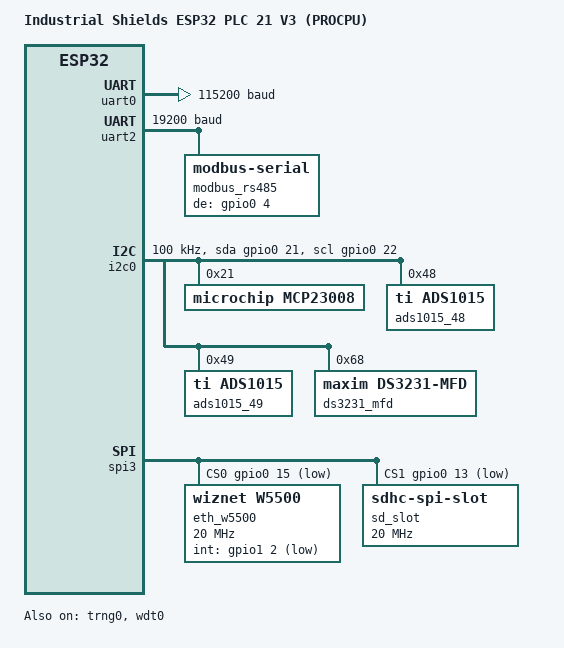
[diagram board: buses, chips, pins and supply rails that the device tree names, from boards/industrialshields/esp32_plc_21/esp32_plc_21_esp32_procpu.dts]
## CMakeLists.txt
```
# SPDX-License-Identifier: Apache-2.0

cmake_minimum_required(VERSION 3.20.0)

# Tell Zephyr to look here (in addition to ZEPHYR_BASE) for board definitions
# and devicetree bindings.  Required because we keep the custom board for the
# Industrial Shields ESP32 PLC 21 in this repo, not in the Zephyr tree.
list(APPEND BOARD_ROOT ${CMAKE_CURRENT_SOURCE_DIR})
list(APPEND DTS_ROOT   ${CMAKE_CURRENT_SOURCE_DIR})

find_package(Zephyr REQUIRED HINTS $ENV{ZEPHYR_BASE})
project(DripMonitor)

# Create a custom command to generate version information at build time
add_custom_command(
    OUTPUT ${CMAKE_CURRENT_BINARY_DIR}/version_info.h
    COMMAND ${CMAKE_COMMAND}
        -DSOURCE_DIR=${CMAKE_CURRENT_SOURCE_DIR}
        -DBINARY_DIR=${CMAKE_CURRENT_BINARY_DIR}
        -P ${CMAKE_CURRENT_SOURCE_DIR}/generate_version.cmake
    WORKING_DIRECTORY ${CMAKE_CURRENT_SOURCE_DIR}
    COMMENT "Generating version information"
    VERBATIM
)

# Create a custom target that depends on the version header
add_custom_target(generate_version_header ALL
    DEPENDS ${CMAKE_CURRENT_BINARY_DIR}/version_info.h
)

# Make sure the generated header is available to the compiler
target_include_directories(app PRIVATE ${CMAKE_CURRENT_BINARY_DIR})

# Make the app depend on the version generation
add_dependencies(app generate_version_header)

target_sources(app PRIVATE
    src/main.cpp
    src/dripper.cpp
    src/display.cpp
    src/cloud.cpp
    src/storage.cpp
    src/modbus_rtu.cpp
    include/network.cpp
    include/LK204.cpp
    include/PID.cpp
    include/mqtt_broker.cpp
)
```

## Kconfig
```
config ENABLE_DRIPPER
    bool "Enable Dripper Control"
    default y
    help
      Enable the dripper control thread and functionality

config ENABLE_DISPLAY
    bool "Enable Project Display"
    default y
    help
      Enable the LCD display thread and user interface

config ENABLE_CLOUD
    bool "Enable Project Cloud Communications"
    default y
    help
      Enable MQTT cloud connectivity and data synchronization

config PID_TUNING_LOG
    bool "Enable PID Tuning Data Logging"
    default n
    help
      Enable detailed PID tuning data logging for analysis.
      Logs setpoint, process variable, control output, and PID parameters.

# Per-module logging configuration
menu "Module Log Levels"

module = APP_MAIN
module-str = app_main
source "subsys/logging/Kconfig.template.log_config"

module = APP_DRIPPER
module-str = app_dripper
source "subsys/logging/Kconfig.template.log_config"

module = APP_DISPLAY
module-str = app_display
source "subsys/logging/Kconfig.template.log_config"

module = APP_CLOUD
module-str = app_cloud
source "subsys/logging/Kconfig.template.log_config"

endmenu

source "Kconfig.zephyr"
```

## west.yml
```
manifest:
  remotes:
    - name: zephyrproject-rtos
      url-base: https://github.com/zephyrproject-rtos

  projects:
    - name: zephyr
      remote: zephyrproject-rtos
      path: zephyr
      revision: v4.4.0
      import: true

  self:
    path: DripMonitor
```

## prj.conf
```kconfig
#Application
CONFIG_ENABLE_DRIPPER=y
CONFIG_ENABLE_DISPLAY=n
CONFIG_ENABLE_CLOUD=y


#Logging
CONFIG_LOG=y
CONFIG_LOG_DEFAULT_LEVEL=3
CONFIG_LOG_BUFFER_SIZE=2048
CONFIG_LOG_MODE_DEFERRED=y


#Per-Module Logging Configuration
#0=OFF, 1=ERR, 2=WRN, 3=INF, 4=DBG
CONFIG_APP_MAIN_LOG_LEVEL_INF=y
CONFIG_APP_DRIPPER_LOG_LEVEL_INF=y
CONFIG_APP_DISPLAY_LOG_LEVEL_INF=y
CONFIG_APP_CLOUD_LOG_LEVEL_INF=y
CONFIG_PID_TUNING_LOG=n


#Zephyr Module Logging
#CONFIG_NET_LOG=y
#CONFIG_SNTP_LOG_LEVEL_DBG=y
#CONFIG_ETHERNET_LOG_LEVEL_DBG=y
#CONFIG_ETH_W5500_LOG_LEVEL_DBG=y
#CONFIG_NET_DHCPV4_LOG_LEVEL_DBG=y
#CONFIG_MBEDTLS_LOG_LEVEL_DBG=y
#CONFIG_MBEDTLS_DEBUG=y
CONFIG_I2C_LOG_LEVEL_DBG=y


#C/C++ Library Config
CONFIG_CPP=y
CONFIG_STD_CPP20=y
CONFIG_NEWLIB_LIBC=y
CONFIG_NEWLIB_LIBC_FLOAT_PRINTF=y
CONFIG_GLIBCXX_LIBCPP=y


#Enable Board Features
# Most of these are also turned on in the board's defconfig; we keep them
# here so the application is buildable on any Zephyr board that exposes
# the necessary HW.
CONFIG_GPIO=y
CONFIG_FPU=y
CONFIG_FPU_SHARING=y
CONFIG_PWM=y
CONFIG_I2C=y
CONFIG_SPI=y
CONFIG_UART_INTERRUPT_DRIVEN=y


#Config Stacks & Heaps
CONFIG_MAIN_STACK_SIZE=8192
CONFIG_HEAP_MEM_POOL_SIZE=16384
CONFIG_INIT_STACKS=y
CONFIG_THREAD_STACK_INFO=y
CONFIG_STACK_USAGE=y


#Enable Networking
# We talk to the FX30 cellular gateway over plain Ethernet (W5500),
# get a static address from NET_CONFIG, and run MQTT over the
# resulting IPv4 stack.  The FX30 ethernet port is always 192.168.13.31/24.
CONFIG_NETWORKING=y
CONFIG_NET_NATIVE=y
CONFIG_NET_IPV4=y
CONFIG_NET_IPV6=n
CONFIG_NET_UDP=y
CONFIG_NET_TCP=y
CONFIG_NET_SOCKETS=y
CONFIG_NET_CONTEXT_RCVTIMEO=y
# Static IPv4 — FX30 acts as default gateway on 192.168.13.31/24.
CONFIG_NET_DHCPV4=n
CONFIG_NET_CONFIG_SETTINGS=y
CONFIG_NET_CONFIG_NEED_IPV4=y
CONFIG_NET_CONFIG_AUTO_INIT=y
CONFIG_NET_CONFIG_MY_IPV4_ADDR="192.168.13.10"
CONFIG_NET_CONFIG_MY_IPV4_NETMASK="255.255.255.0"
CONFIG_NET_CONFIG_MY_IPV4_GW="192.168.13.31"

#Enable DNS
CONFIG_DNS_RESOLVER=y
CONFIG_DNS_RESOLVER_MAX_SERVERS=2
CONFIG_DNS_SERVER_IP_ADDRESSES=y
CONFIG_DNS_SERVER1="8.8.8.8"
CONFIG_DNS_SERVER2="1.1.1.1"
CONFIG_NET_SOCKETS_DNS_TIMEOUT=10000


# Network management
CONFIG_NET_MGMT=y
CONFIG_NET_MGMT_EVENT=y
CONFIG_NET_CONNECTION_MANAGER=y


#Enable Sockets
CONFIG_NET_SOCKETS=y
CONFIG_NET_SOCKETS_POLL_MAX=4


#Enable random numbers for network use
CONFIG_ENTROPY_GENERATOR=y


#Enable MQTT
CONFIG_MQTT_LIB=y
CONFIG_MQTT_LIB_TLS=n
CONFIG_MQTT_KEEPALIVE=90


#Enable Flash Storage
CONFIG_FLASH=y
CONFIG_NVS=y


#Enable Watchdog
# The watchdog is the load-bearing piece of our fail-safe story: if the
# CPU hangs, the WDT resets it and the boot-time SYS_INIT hook
# re-initialises the PCA9685 to all-OFF before the application runs.
CONFIG_WATCHDOG=y
CONFIG_WDT_DISABLE_AT_BOOT=n


#Clock
CONFIG_RTC=y
CONFIG_SNTP=y

#CONFIG_NET_SOCKETS_SOCKOPT_TLS=y

# TLS configuration (currently unused, broker is plain MQTT)
#CONFIG_MBEDTLS=y
#CONFIG_MBEDTLS_BUILTIN=y
#CONFIG_MBEDTLS_ENABLE_HEAP=y
#CONFIG_MBEDTLS_HEAP_SIZE=65536
#CONFIG_MBEDTLS_SSL_MAX_CONTENT_LEN=16384
#CONFIG_MBEDTLS_PEM_CERTIFICATE_FORMAT=y
#CONFIG_MBEDTLS_SERVER_NAME_INDICATION=y
#CONFIG_MBEDTLS_AES_ROM_TABLES=y
#CONFIG_MBEDTLS_TLS_VERSION_1_2=y
#CONFIG_MBEDTLS_HAVE_TIME_DATE=y


# BootLoader (disabled until we wire up MCUboot for the ESP32)
#CONFIG_BOOTLOADER_MCUBOOT=y
#CONFIG_MCUBOOT_GENERATE_UNSIGNED_IMAGE=y
#CONFIG_FLASH_MAP=y

# Network buffer configuration for MQTT over Ethernet
CONFIG_NET_BUF_RX_COUNT=64
CONFIG_NET_BUF_TX_COUNT=64
CONFIG_NET_BUF_DATA_SIZE=256
CONFIG_NET_PKT_RX_COUNT=20
CONFIG_NET_PKT_TX_COUNT=20

# State Machine Framework
CONFIG_SMF=y
CONFIG_SMF_ANCESTOR_SUPPORT=y
CONFIG_SMF_INITIAL_TRANSITION=y

CONFIG_MODBUS=y
CONFIG_MODBUS_SERIAL=y
CONFIG_MODBUS_BUFFER_SIZE=256
```

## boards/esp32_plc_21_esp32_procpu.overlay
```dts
/*
 * Application-level overlay for the Industrial Shields ESP32 PLC 21.
 *
 * The board definition (boards/industrialshields/esp32_plc_21/) describes
 * the *PLC hardware itself*: the ESP32, the on-board MCP23008/ADS1015/
 * PCA9685/DS3231 peripherals, the W5500, the SD slot, RS-485, etc.
 *
 * This file describes the *DripMonitor-specific things bolted onto the
 * outside of that hardware*: which PLC terminals carry which logical I/O,
 * and the LK204 LCD plugged onto the I2C bus.
 *
 * Logical to physical mapping:
 *
 *   Inputs
 *   ──────
 *     Drip sensor      ──▶ I0_5 (GPIO27, native ESP32, edge-interrupt capable)
 *     Motor running    ──▶ I0_1 (MCP23008 P4)
 *     Low oil          ──▶ I0_0 (MCP23008 P6)
 *
 *   Outputs (all on PCA9685 channels — see API note below)
 *   ───────
 *     LED green        ──▶ Q0_0 (PCA9685 ch 11)   on/off
 *     LED red          ──▶ Q0_1 (PCA9685 ch 10)   on/off
 *     Motor enable     ──▶ Q0_2 (PCA9685 ch  9)   on/off
 *     Pump speed       ──▶ Q0_5 (PCA9685 ch 13)   variable PWM (low-pass
 *                                                  filtered → analog drive
 *                                                  for the future stepper
 *                                                  controller)
 *
 * NOTE on PWM-as-output modeling:
 *   The PCA9685 is a 16-channel I2C output expander.  Three of the four
 *   outputs above (LED green/red, motor enable) are conceptually plain
 *   binary outputs and would naturally be `gpio_dt_spec`s -- but Zephyr
 *   only ships a *PWM* driver for the PCA9685 (`nxp,pca9685-pwm`); there
 *   is no upstream `gpio-pca9685` shim driver.  The chip itself supports
 *   "full ON" / "full OFF" register modes that bypass the PWM counter,
 *   and the Zephyr driver maps duty=full / duty=0 onto exactly those
 *   modes.  So even though the application API is PWM-shaped, the chip
 *   really is just being told "channel always on" or "channel always off"
 *   for the binary outputs.  See pwmDigitalSet() in dripper.cpp for the
 *   wrapper that hides this.
 *
 *   Only the pump-speed line is genuinely a PWM signal, and even that
 *   one is on borrowed time (planned to migrate to the chip's analog
 *   output behavior + a dedicated stepper controller).
 *
 * NOTE on the filename: Zephyr 4.2's auto-discovery in <APP>/boards/
 * matches against the *full* normalized board target name
 *   esp32_plc_21_esp32_procpu.overlay
 * and (despite the documentation) does NOT fall back to the bare board
 * name `esp32_plc_21.overlay`. If you ever change the board target,
 * rename this file too or it will silently stop being included.
 */

/ {
	aliases {
		inp-drip       = &inp_drip;
		inp-mtr-run    = &inp_mtr_run;
		inp-low-oil    = &inp_low_oil;

		out-led-grn     = &out_led_grn;
		out-led-red     = &out_led_red;
		out-mtr-enable  = &out_mtr_enable;
		out-pump-spd    = &out_pump_spd;   /* the only one that's actually PWM */
	};

	inputs {
		compatible = "gpio-keys";

		inp_drip: inp_drip {
			gpios = <&gpio0 27 GPIO_ACTIVE_HIGH>; /* I0_5 = GPIO27 */
			label = "I0.5 (Drip)";
		};
		inp_mtr_run: inp_mtr_run {
			gpios = <&mcp23008 4 GPIO_ACTIVE_HIGH>; /* I0_1 = MCP23008 P4 */
			label = "I0.1 (Motor Run)";
		};
		inp_low_oil: inp_low_oil {
			gpios = <&mcp23008 6 GPIO_ACTIVE_HIGH>; /* I0_0 = MCP23008 P6 */
			label = "I0.0 (Low Oil)";
		};
	};

	/* DripMonitor outputs.  Wrapped in a `pwm-leds` parent so each one
	 * becomes a PWM_DT_SPEC_GET()-able node.  The `pwm-leds` parent is
	 * just a vehicle for grouping pwms phandles; nothing here is actually
	 * an LED indicator (see API note above for why these on/off outputs
	 * wear PWM clothing).  The PCA9685 has a single chip-wide period;
	 * pinning it at ~625 µs (1.6 kHz) on every child keeps the chip from
	 * being retuned mid-run.
	 */
	pwmdevs {
		compatible = "pwm-leds";

		out_led_grn: out_led_grn {
			pwms = <&pca9685 11 PWM_USEC(625) PWM_POLARITY_NORMAL>;
			label = "LED Green (Q0.0)";
		};
		out_led_red: out_led_red {
			pwms = <&pca9685 10 PWM_USEC(625) PWM_POLARITY_NORMAL>;
			label = "LED Red (Q0.1)";
		};
		out_mtr_enable: out_mtr_enable {
			pwms = <&pca9685 9 PWM_USEC(625) PWM_POLARITY_NORMAL>;
			label = "Motor Enable (Q0.2)";
		};
		out_pump_spd: out_pump_spd {
			pwms = <&pca9685 13 PWM_USEC(625) PWM_POLARITY_NORMAL>;
			label = "Pump Speed (Q0.5, analog out 1)";
		};
	};
};

&i2c0 {
	lcd: lcd@28 {
		compatible = "i2c-device";
		reg = <0x28>;
		label = "LK204 LCD";
	};
};
```

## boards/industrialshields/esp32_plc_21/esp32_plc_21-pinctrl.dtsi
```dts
/*
 * Copyright (c) 2026 New Mexico Drip Inc.
 *
 * SPDX-License-Identifier: Apache-2.0
 */

#include <zephyr/dt-bindings/pinctrl/esp-pinctrl-common.h>
#include <dt-bindings/pinctrl/esp32-pinctrl.h>
#include <zephyr/dt-bindings/pinctrl/esp32-gpio-sigmap.h>

&pinctrl {

	/* USB-bridge console (Industrial Shields front-panel USB-C). */
	uart0_default: uart0_default {
		group1 {
			pinmux = <UART0_TX_GPIO1>;
			output-high;
		};
		group2 {
			pinmux = <UART0_RX_GPIO3>;
			bias-pull-up;
		};
	};

	/* RS-485 hard-wired transceiver on the screw terminal block.
	 * DE/RE direction control is GPIO4, driven by the UART2 driver
	 * (see &uart2 dir-gpios in the .dts).
	 */
	uart2_default: uart2_default {
		group1 {
			pinmux = <UART2_TX_GPIO17>;
		};
		group2 {
			pinmux = <UART2_RX_GPIO16>;
			bias-pull-up;
		};
	};

	/* I2C0: on-board peripheral bus.
	 * Devices: MCP23008 @ 0x21, ADS1015 @ 0x48 + 0x49,
	 *          PCA9685 @ 0x40, DS3231 RTC @ 0x68.
	 */
	i2c0_default: i2c0_default {
		group1 {
			pinmux = <I2C0_SDA_GPIO21>,
				 <I2C0_SCL_GPIO22>;
			bias-pull-up;
			drive-open-drain;
			output-high;
		};
	};

	/* SPI3 (VSPI): shared bus for W5500 Ethernet (CS=GPIO15) and SD (CS=GPIO13). */
	spim3_default: spim3_default {
		group1 {
			pinmux = <SPIM3_MISO_GPIO19>,
				 <SPIM3_SCLK_GPIO18>;
		};
		group2 {
			pinmux = <SPIM3_MOSI_GPIO23>;
			output-low;
		};
	};
};
```

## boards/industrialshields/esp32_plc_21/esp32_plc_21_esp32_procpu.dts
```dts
/*
 * Copyright (c) 2026 New Mexico Drip Inc.
 *
 * SPDX-License-Identifier: Apache-2.0
 *
 * Industrial Shields ESP32 PLC 21 (hardware revision V3).
 * MCU: ESP32-WROOM-32UE-N16 (single-core PRO_CPU usage, 16 MB flash, no PSRAM).
 *
 * On-board peripherals (all on the internal I2C0 bus, GPIO21 SDA / GPIO22 SCL):
 *   - MCP23008 GPIO expander @ 0x21  -> digital inputs I0_0..I0_4
 *   - ADS1015  ADC            @ 0x48 -> analog/digital inputs I0_9..I0_12 (Q0_5..7 readback)
 *   - ADS1015  ADC            @ 0x49 -> analog/digital inputs I0_7..I0_8
 *   - PCA9685  PWM/output drv @ 0x40 -> digital outputs Q0_0..Q0_7
 *   - DS3231   RTC            @ 0x68
 *
 * SPI3 (VSPI) bus, MOSI=GPIO23 / MISO=GPIO19 / SCK=GPIO18:
 *   - WIZnet W5500 Ethernet controller, CS=GPIO15
 *   - microSD card slot,                CS=GPIO13
 *
 * UART0 (GPIO1/3): console / Industrial Shields USB bridge.
 * UART2 (GPIO17/16) + GPIO4 DE/RE: RS-485 transceiver on the screw terminals.
 *
 * Direct ESP32 GPIO routed to screw terminals on PLC 21:
 *   I0_5  = GPIO27 (digital input)
 *   I0_6  = GPIO26 (digital input)
 *   I_VP  = GPIO36 (analog only)
 *   I_VN  = GPIO39 (analog only)
 *
 * Direct ESP32 GPIO routed to screw terminals on PLC 21:
 *   - GPIO_0 (V3 only) = MCP23008 expander pin 7 (front-panel exposed pin).
 */

/dts-v1/;

#include <espressif/esp32/esp32_wroom_32ue_n16.dtsi>
#include "esp32_plc_21-pinctrl.dtsi"
#include <espressif/partitions_0x1000_default_16M.dtsi>

/ {
	model = "Industrial Shields ESP32 PLC 21 V3 (PROCPU)";
	compatible = "industrialshields,esp32-plc-21", "espressif,esp32";

	chosen {
		zephyr,sram          = &sram1;
		zephyr,console       = &uart0;
		zephyr,shell-uart    = &uart0;
		zephyr,flash         = &flash0;
		zephyr,code-partition = &slot0_partition;
		zephyr,uart-mcumgr   = &uart0;
	};

	aliases {
		watchdog0 = &wdt0;
		modbus0   = &modbus_rs485;
		uart-0    = &uart0;
		uart-485  = &uart2;
		i2c-0     = &i2c0;
		rtc       = &ds3231;
		eth0      = &eth_w5500;
		sdhc0     = &sd_slot;
	};
};

&uart0 {
	status = "okay";
	current-speed = <115200>;
	pinctrl-0 = <&uart0_default>;
	pinctrl-names = "default";
};

/* RS-485 transceiver on UART2.
 *
 * GPIO17 = TX  (→ MAX485 DI)
 * GPIO16 = RX  (← MAX485 RO)
 * GPIO4  = DE/RE direction control, asserted HIGH during transmit.
 *
 * The `de-gpios` property is consumed by the zephyr,modbus-serial child
 * driver to toggle the MAX485 direction pin around each frame.
 * Physical requirement: DIP switch 3 (A-zone) must be set to OFF.
 */
&uart2 {
	status = "okay";
	current-speed = <19200>;
	pinctrl-0 = <&uart2_default>;
	pinctrl-names = "default";

	modbus_rs485: modbus_rs485 {
		compatible = "zephyr,modbus-serial";
		status = "okay";
		de-gpios = <&gpio0 4 GPIO_ACTIVE_HIGH>;
	};
};

&gpio0 {
	status = "okay";
};

&gpio1 {
	status = "okay";
};

&i2c0 {
	status = "okay";
	clock-frequency = <I2C_BITRATE_STANDARD>;
	sda-gpios = <&gpio0 21 GPIO_OPEN_DRAIN>;
	scl-gpios = <&gpio0 22 GPIO_OPEN_DRAIN>;
	pinctrl-0 = <&i2c0_default>;
	pinctrl-names = "default";

	mcp23008: gpio@21 {
		compatible = "microchip,mcp23008";
		reg = <0x21>;
		gpio-controller;
		#gpio-cells = <2>;
		ngpios = <8>;
		status = "okay";
	};

	ads1015_48: adc@48 {
		compatible = "ti,ads1015";
		reg = <0x48>;
		#io-channel-cells = <1>;
		#address-cells = <1>;
		#size-cells = <0>;
		status = "okay";
	};

	ads1015_49: adc@49 {
		compatible = "ti,ads1015";
		reg = <0x49>;
		#io-channel-cells = <1>;
		#address-cells = <1>;
		#size-cells = <0>;
		status = "okay";
	};

	pca9685: pwm@40 {
		compatible = "nxp,pca9685-pwm";
		reg = <0x40>;
		#pwm-cells = <3>;
		status = "okay";
	};

	ds3231_mfd: ds3231@68 {
		compatible = "maxim,ds3231-mfd";
		reg = <0x68>;
		status = "okay";

		ds3231: ds3231-rtc {
			compatible = "maxim,ds3231-rtc";
			status = "okay";
			/* INT/SQW pin is not routed to the ESP32 on the PLC 21,
			 * so alarms / countdown features are unavailable.  The
			 * driver still requires `isw-gpios` to be present at
			 * compile time, so we point it at GPIO34 (input-only,
			 * NC on this PLC variant) as a placeholder.  Time-set
			 * with sub-second accuracy will not work, but plain
			 * time-of-day operation does.
			 */
			isw-gpios = <&gpio1 2 GPIO_ACTIVE_LOW>; /* GPIO34, NC */
		};
	};
};

&spi3 {
	#address-cells = <1>;
	#size-cells = <0>;
	status = "okay";
	pinctrl-0 = <&spim3_default>;
	pinctrl-names = "default";
	/* CS pins for: W5500 (slot 0), SD (slot 1). */
	cs-gpios = <&gpio0 15 GPIO_ACTIVE_LOW>,
		   <&gpio0 13 GPIO_ACTIVE_LOW>;

	eth_w5500: eth@0 {
		compatible = "wiznet,w5500";
		reg = <0x0>;
		spi-max-frequency = <DT_FREQ_M(20)>;
		/* INT pin is not routed on the PLC 21 PCB; point at GPIO34
		 * (input-only, not connected) as a dummy to satisfy the
		 * binding requirement. Polling is used instead (see defconfig). */
		int-gpios = <&gpio1 2 GPIO_ACTIVE_LOW>; /* GPIO34, NC */
		status = "okay";
	};

	sd_slot: sdhc@1 {
		compatible = "zephyr,sdhc-spi-slot";
		reg = <1>;
		spi-max-frequency = <DT_FREQ_M(20)>;
		status = "okay";

		mmc {
			compatible = "zephyr,sdmmc-disk";
			disk-name = "SD";
			status = "okay";
		};
	};
};

&trng0 {
	status = "okay";
};

&wdt0 {
	status = "okay";
};

/* On-board WiFi/Bluetooth radios are present in the ESP32-WROOM-32UE module
 * but the PLC 21 has no antenna populated for them and the user-facing
 * connectivity is Ethernet only.  Leave both disabled to save RAM/flash and
 * to make sure no RF activity happens unexpectedly.
 */
&wifi {
	status = "disabled";
};

&esp32_bt_hci {
	status = "disabled";
};
```

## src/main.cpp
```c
// *************************************************************
// Includes
// *************************************************************
#include <zephyr/kernel.h>
#include <zephyr/logging/log.h>
#include <zephyr/drivers/uart.h>
#include <zephyr/device.h>
#include <cstring>
#include <cstdlib>
#include "modbus_rtu.h"

#include "storage.hpp"

LOG_MODULE_REGISTER(app_main, CONFIG_APP_MAIN_LOG_LEVEL);

// *************************************************************
// Constants
// *************************************************************
#define SERIAL_MAX_LEN 32
#define API_KEY_MAX_LEN 64
#define INPUT_TIMEOUT_MS 30000
#define PROVISIONING_TIMEOUT_MS 5000
#define UART_MSG_QUEUE_SIZE 256

// *************************************************************
// Global Variables
// *************************************************************
bool provisioning_mode = true;  // Start in provisioning mode, prevents other threads from running
static const struct device *uart_dev;

K_MSGQ_DEFINE(uart_msgq, sizeof(char), UART_MSG_QUEUE_SIZE, 1);

// *************************************************************
// UART Functions
// *************************************************************
static void uart_irq_callback(const struct device *dev, void *user_data)
{
    uint8_t c;
    
    if (!uart_irq_update(dev)) {
        return;
    }

    while (uart_irq_rx_ready(dev)) {
        if (uart_fifo_read(dev, &c, 1) == 1) {
            k_msgq_put(&uart_msgq, &c, K_NO_WAIT);
        }
    }
}

static void uart_print(const char *str) {
    if (!str) return;
    
    while (*str) {
        uart_poll_out(uart_dev, *str++);
    }
}

static int uart_read_line(char *buffer, size_t max_len, int timeout_ms) {
    if (!buffer || max_len == 0) {
        return -1;
    }
    
    size_t pos = 0;
    int64_t start_time = k_uptime_get();
    char c;
    
    while (pos < max_len - 1) {
        if (k_msgq_get(&uart_msgq, &c, K_MSEC(10)) == 0) {
            if (c == '\r' || c == '\n') {
                buffer[pos] = '\0';
                uart_print("\r\n");
                return pos;
            } else if (c == '\b' || c == 127) { // Backspace
                if (pos > 0) {
                    pos--;
                    uart_print("\b \b");  // Erase character
                }
            } else if (c >= 32 && c <= 126) { // Printable characters
                buffer[pos++] = c;
                uart_poll_out(uart_dev, c);  // Echo
            }
        } else {
            // Check timeout
            if (timeout_ms > 0 && (k_uptime_get() - start_time) > timeout_ms) {
                return -1;
            }
        }
    }
    
    buffer[pos] = '\0';
    return pos;
}

// *************************************************************
// Helper Functions
// *************************************************************
static void obscure_api_key(const char *api_key, char *obscured, size_t obscured_size) {
    size_t len = strlen(api_key);
    
    if (len <= 5 || obscured_size <= len) {
        // If key is short or buffer too small, copy as-is
        strncpy(obscured, api_key, obscured_size - 1);
        obscured[obscured_size - 1] = '\0';
        return;
    }
    
    strcpy(obscured, api_key);
    // Obscure all but last 5 characters, preserve hyphens
    for (size_t i = 0; i < len - 5; i++) {
        if (obscured[i] != '-') {
            obscured[i] = '*';
        }
    }
}

static bool validate_input_length(const char *input, size_t max_len, const char *field_name) {
    size_t len = strlen(input);
    if (len == 0) {
        uart_print("Error: ");
        uart_print(field_name);
        uart_print(" cannot be empty!\r\n");
        return false;
    }
    if (len >= max_len) {
        uart_print("Error: ");
        uart_print(field_name);
        uart_print(" too long!\r\n");
        return false;
    }
    return true;
}

static void clear_input_queue() {
    char c;
    while (k_msgq_get(&uart_msgq, &c, K_NO_WAIT) == 0) {
        // Consume any remaining characters
    }
}

// *************************************************************
// Provisioning Functions
// *************************************************************
static void show_current_values() {
    char serial[SERIAL_MAX_LEN] = {0};
    char apikey[API_KEY_MAX_LEN] = {0};
    char obscured[API_KEY_MAX_LEN] = {0};
    
    uart_print("\r\n=== Current Stored Values ===\r\n");
    
    // Show Serial Number
    if (storageRead(FS_SERIAL_NUM, serial, sizeof(serial)) > 0) {
        uart_print("Serial Number: ");
        uart_print(serial);
        uart_print("\r\n");
    } else {
        uart_print("Serial Number: [Not Set]\r\n");
    }
    
    // Show API Key (obscured)
    if (storageRead(FS_API_KEY, apikey, sizeof(apikey)) > 0) {
        uart_print("API Key: ");
        obscure_api_key(apikey, obscured, sizeof(obscured));
        uart_print(obscured);
        uart_print("\r\n");
    } else {
        uart_print("API Key: [Not Set]\r\n");
    }
    
    uart_print("\r\n");
}

static void set_serial_number() {
    char inp_serial[SERIAL_MAX_LEN];
    
    uart_print("Enter Serial Number (max 31 chars): ");
    if (uart_read_line(inp_serial, sizeof(inp_serial), INPUT_TIMEOUT_MS) > 0) {
        if (validate_input_length(inp_serial, SERIAL_MAX_LEN, "Serial Number")) {
            if (storageWrite(FS_SERIAL_NUM, inp_serial, sizeof(inp_serial)) >= 0) {
                uart_print("Serial Number saved successfully!\r\n");
            } else {
                uart_print("Error saving Serial Number!\r\n");
            }
        }
    }
}

static void set_api_key() {
    char inp_apikey[API_KEY_MAX_LEN];
    
    uart_print("Enter API Key (max 63 chars): ");
    if (uart_read_line(inp_apikey, sizeof(inp_apikey), INPUT_TIMEOUT_MS) > 0) {
        if (validate_input_length(inp_apikey, API_KEY_MAX_LEN, "API Key")) {
            if (storageWrite(FS_API_KEY, inp_apikey, sizeof(inp_apikey)) >= 0) {
                uart_print("API Key saved successfully!\r\n");
            } else {
                uart_print("Error saving API Key!\r\n");
            }
        }
    }
}

static void clear_all_storage() {
    char confirmation[4];
    
    uart_print("WARNING: This will clear ALL stored data!\r\n");
    uart_print("Are you sure? (y/N): ");
    
    if (uart_read_line(confirmation, sizeof(confirmation), INPUT_TIMEOUT_MS) > 0) {
        if (confirmation[0] == 'y' || confirmation[0] == 'Y') {
            if (storageInit(true) == 0) {
                uart_print("Storage cleared successfully!\r\n");
                if (storageInit(false) < 0) {
                    uart_print("Warning: Error re-initializing storage!\r\n");
                }
            } else {
                uart_print("Error clearing storage!\r\n");
            }
        } else {
            uart_print("Operation cancelled.\r\n");
        }
    }
}

static void provisioning_menu() {
    char inp_menu[4];
    int choice;
    
    while (1) {
        uart_print("\r\n=== Device Provisioning Menu ===\r\n");
        uart_print("1. Set Serial Number\r\n");
        uart_print("2. Set API Key\r\n");
        uart_print("3. Show Current Values\r\n");
        uart_print("4. Clear All Storage\r\n");
        uart_print("5. Exit\r\n");
        uart_print("\r\nEnter choice (1-5): ");
        
        if (uart_read_line(inp_menu, sizeof(inp_menu), INPUT_TIMEOUT_MS) <= 0) {
            uart_print("Timeout or error. Exiting...\r\n");
            break;
        }
        
        choice = atoi(inp_menu);
        
        switch (choice) {
            case 1:
                set_serial_number();
                break;
            case 2:
                set_api_key();
                break;
            case 3:
                show_current_values();
                break;
            case 4:
                clear_all_storage();
                break;
            case 5:
                uart_print("Exiting provisioning menu...\r\n");
                return;
            default:
                uart_print("Invalid choice. Please enter 1-5.\r\n");
                break;
        }
    }
}

static bool check_for_provisioning_request() {
    uart_print("\r\nPress Enter within 5 seconds for provisioning menu...\r\n");
    
    int64_t start_time = k_uptime_get();
    char c;
    
    while (k_uptime_get() - start_time < PROVISIONING_TIMEOUT_MS) {
        if (k_msgq_get(&uart_msgq, &c, K_MSEC(10)) == 0) {
            // Only treat Enter as an explicit provisioning request.
            // This avoids accidental menu entry from serial noise.
            if (c == '\r' || c == '\n') {
                uart_print("Enter detected! Entering provisioning menu...\r\n");
                clear_input_queue();
                return true;
            }
        }
    }
    
    uart_print("Timeout. Continuing with normal operation...\r\n");
    return false;
}

// *************************************************************
// Main Function
// *************************************************************
int main() {
    // Initialize UART
    uart_dev = DEVICE_DT_GET(DT_CHOSEN(zephyr_console));
    if (!device_is_ready(uart_dev)) {
        LOG_ERR("UART device not ready");
        return -1;
    }

    // Setup interrupt-driven UART
    uart_irq_callback_set(uart_dev, uart_irq_callback);
    uart_irq_rx_enable(uart_dev);

    // Initialize storage
    if (storageInit(false) < 0) {
        LOG_ERR("Storage initialization failed");
        return -1;
    }
    
    // Check for provisioning request
    if (check_for_provisioning_request()) {
        provisioning_menu();
    }
    
    // Provisioning complete - allow other threads to start
    provisioning_mode = false;
    LOG_INF("Provisioning complete. Starting normal operation...");

    // Start Modbus RTU server
    if (modbus_rtu_init() < 0) {
        LOG_ERR("Modbus RTU init failed — continuing without HMI link");
    }

    while (1){
        LOG_INF("Main loop");
        k_sleep(K_MSEC(60000));
    }

    return 0;
}
```

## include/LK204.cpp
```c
// LK204.cpp
#include "LK204.hpp"

// default I2C address is 0x28 despite manuals documenting 0x50 or 0x80
LK204::LK204(const struct i2c_dt_spec lcdDev) {
  _lcdDev = lcdDev;
}

// **************************************************************
// base commands
// **************************************************************
inline void LK204::lcdCmd(uint8_t cmd, uint8_t paramCnt, uint8_t params[]) {
  uint8_t bufsize = paramCnt + 2;
  uint8_t buf[bufsize];

  buf[0] = LCD_CMDPREFIX;
  buf[1] = cmd;
  for (uint8_t i = 0; i < paramCnt; i++) {
    buf[i+2] = params[i];
  }

  i2c_write_dt(&_lcdDev, buf, bufsize);
}

#include <zephyr/logging/log.h>
LOG_MODULE_REGISTER(pkg_display, LOG_LEVEL_DBG);

void LK204::init(uint8_t cols, uint8_t rows) {
  _cols = cols;
  _rows = rows;

  // set display transmission protocol to i2c (0)
  // does not seem to have an effect but left in as it doesn't break anything
  uint8_t params[1] = {0};
  lcdCmd(LCD_TXPROTOCOL, 1, params);

  // manual states for I2C the display should have autotransmit off, this doesn't
  // seem to make any difference. This command is left in as it doesn't break anything
  lcdCmd(LCD_AUTOTRANSMITOFF);
}

// **************************************************************
// text commands
// **************************************************************
// clear the screen
void LK204::clear() {
  lcdCmd(LCD_CLEARSCREEN);
}

void LK204::setStartupScreen(const std::string &text) {
  uint8_t charArray[80];
  uint8_t i = 0;

  for (char c : text){
    charArray[i] = c;
    i++;
  }

  // fill with spaces otherwise previous characters remain
  for (; i < 80; i++) {
    charArray[i] = 0x20;
  }

  lcdCmd(LCD_CHANGESTARTUPSCREEN, 80, charArray);
}

// set cursor to the top left position
void LK204::home() {
  lcdCmd(LCD_SETCURSORHOME);
}

// set cursor to a specific position, top left is (0,0)
void LK204::setCursor(uint8_t col, uint8_t row) {
  if (col >= 0 && col <= _cols-1 && row >= 0 && row <= _rows-1) {
    uint8_t loc[2] = {uint8_t(col+1), uint8_t(row+1)};
    lcdCmd(LCD_SETCURSORPOS, 2, loc);
  }
}

// display contents will shift up one line when end of screen is reached
// default is ON
void LK204::autoscroll() {
  lcdCmd(LCD_AUTOSCROLLON);
}

// new text overwrites top line when end of screen is reached
void LK204::noAutoscroll() {
  lcdCmd(LCD_AUTOSCROLLOFF);
}

// text will wrap to the next consecutive line once a row becomes full
// default is ON
void LK204::linewrap() {
  lcdCmd(LCD_AUTOLINEWRAPON);
}

// text will skip one line when a row becomes full
// writing order is row 1, 3, 2, 4
void LK204::noLinewrap() {
  lcdCmd(LCD_AUTOLINEWRAPOFF);
}

// move cursor one position to the left
// obeys line wrap setting
void LK204::moveCursorBack() {
  lcdCmd(LCD_MOVECURSORBACK);
}

// move cursor one position to the right
// obeys line wrap setting
void LK204::moveCursorFwd() {
  lcdCmd(LCD_MOVECURSORFWD);
}

// displays an underline at current position
// can be used with blinking block
void LK204::cursor() {
  lcdCmd(LCD_UNDERLINECURSORON);
}

// removes underline at current position
void LK204::noCursor() {
  lcdCmd(LCD_UNDERLINECURSOROFF);
}

// displays a blinking block over current cursor position
// can be used with underline cursor
void LK204::blink() {
  lcdCmd(LCD_UNDERLINECURSORON);
}

// removes blinking block over current cursor position
void LK204::noBlink() {
  lcdCmd(LCD_UNDERLINECURSOROFF);
}

// writes text to the display
void LK204::write(const std::string &text) {
  uint8_t textLen = text.length();
  uint8_t charArray[textLen];
  uint8_t i = 0;
  uint8_t retries = 10;
  int ret;

  for (char c : text){
    charArray[i] = c;
    i++;
  }

  while (retries--){
    ret = i2c_write_dt(&_lcdDev, charArray, textLen);
    if (ret >= 0) {
        return;
    }
    k_sleep(K_MSEC(25));
  }
  
}

// writes single character to the display
void LK204::write(const uint8_t &chara) {
  uint8_t retries = 10;
  int ret;
  while (retries--){
    ret = i2c_write_dt(&_lcdDev, &chara, 1);
    if (ret >= 0) {
        return;
    }
    k_sleep(K_MSEC(25));
  }
}


// **************************************************************
// GPO / LED commands
// **************************************************************
void LK204::setLED(uint8_t led, ledColor color) {
  // LED colors are controlled by combination of two GPOs
  uint8_t gpo1[1] = {uint8_t(2 * led - 1)};
  uint8_t gpo2[1] = {uint8_t(2 * led)};

  // set GPOs
  lcdCmd((color & 1) ? LCD_GPOON : LCD_GPOOFF, 1, gpo1);
  lcdCmd((color & 2) ? LCD_GPOON : LCD_GPOOFF, 1, gpo2);

}

void LK204::setLEDStartup(uint8_t led, ledColor color) {
  // LED colors are controlled by combination of two GPOs
  uint8_t gpo1[2] = {uint8_t(2 * led - 1), uint8_t(color & 1)};
  uint8_t gpo2[2] = {uint8_t(2 * led),     uint8_t(color & 2)};

  // set first GPO
  lcdCmd(LCD_GPOSTARTSTATE, 2, gpo1);

  // set second GPO
  lcdCmd(LCD_GPOSTARTSTATE, 2, gpo2);
}


// **************************************************************
// Keypad commands
// **************************************************************
enum LK204::btns LK204::readButtons() {
  uint8_t button = 0;
  
  // button reads are possible without this command but sometimes bit-shift right without it
  lcdCmd(LCD_POLLKEYPRESS);

  i2c_read_dt(&_lcdDev, &button, 1);

  // clear MSB as it indicates if there are more key pressed queued (1) or empty (0)
  button &= ~(1UL << 7);

  return static_cast<btns>(button);
}

// display stores up to 10 key presses
void LK204::clearKeyBuffer() {
  lcdCmd(LCD_CLEARKEYBUFFER);
}

// set button debouce timer in increments of 6.554ms
// default value is 8, or approx. 52ms
void LK204::setKeyDebounceTime(uint8_t time) {
  // convert to array to pass
  uint8_t params[1] = {time};

  lcdCmd(LCD_SETKEYDEBOUNCE, 1, params);
}

// set button auto repeat mode
// hold mode transmits once while pressed
// typematic transmits immediately and then 5 times/sec after a 1 sec delay while held
// default is typematic
// manual has a seperate command to turn auto repeat mode off, but doesn't appear to be necessary
void LK204::setAutoRepeatMode(repeatMode mode) {
  // convert to array to pass
  uint8_t params[1] = {mode};

  lcdCmd(LCD_SETAUTOREPEATMODE, 1, params);
}

void LK204::keypadBacklightOff() {
  lcdCmd(LCD_KEYBACKLIGHTOFF);
}

// set keypad brightness
// default is 255
void LK204::setKeypadBacklightLevel(uint8_t level) {
  // convert to array to pass
  uint8_t params[1] = {level};

  lcdCmd(LCD_SETKEYBRIGHTNESS, 1, params);
}

// auto keypad backlight setting
// option to transmit or omit first keypress
// and options for no change to backlight, keypad and/or display
void LK204::setAutoBacklight(backlightMode mode) {
  // convert to array to pass
  uint8_t params[1] = {mode};

  lcdCmd(LCD_SETAUTOBACKLIGHT, 1, params);
}


// **************************************************************
// Display commands
// **************************************************************

// turn on backlight for length of time in minutes
// value of 0 leaves display on indefinitely
// if an inverse display is used this essentially turns on the text
void LK204::displayBacklightOnTime(uint8_t time) {
  // convert to array to pass
  uint8_t params[1] = {time};

  lcdCmd(LCD_BACKLIGHTON, 1, params);
}

// turn off backlight
void LK204::displayBacklightOff() {
  lcdCmd(LCD_BACKLIGHTOFF);
}

// set backlight level
// optionally permantly save level
void LK204::setDisplayBacklightLevel(uint8_t level, bool save) {
  // convert to array to pass
  uint8_t params[1] = {level};

  if (save) {
    lcdCmd(LCD_SETSAVEBRIGHTNESS, 1, params);
  } else {
    lcdCmd(LCD_SETBRIGHTNESS, 1, params);
  }
}

// set backlight color
// provide values for red, green, and blue 0-255
// default is white (255,255,255)
void LK204::setDisplayBacklightColor(uint8_t red, uint8_t green, uint8_t blue) {
  // convert to array to pass
  uint8_t params[3] = {red, green, blue};

  lcdCmd(LCD_SETBACKLIGHTCOLOR, 3, params);
}

// set contrast
// for inverse display this seets text brightness
// optionally permantly save level
// default is 128
void LK204::setDisplayContrast(uint8_t level, bool save) {
  // convert to array to pass
  uint8_t params[1] = {level};

  if (save) {
    lcdCmd(LCD_SETSAVECONTRAST, 1, params);
  } else {
    lcdCmd(LCD_SETCONTRAST, 1, params);
  }
}
```

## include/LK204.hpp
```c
// LK204.h
#ifndef LK204_H
#define LK204_H

#include <string>
#include <zephyr/device.h>
#include <zephyr/drivers/i2c.h>

// command prefix
#define   LCD_CMDPREFIX             0xFE

// command prefix
#define   LCD_TXPROTOCOL            0xA0

// text commands
#define   LCD_CLEARSCREEN           0x58
#define   LCD_CHANGESTARTUPSCREEN   0x40
#define   LCD_AUTOSCROLLON          0x51
#define   LCD_AUTOSCROLLOFF         0x52
#define   LCD_AUTOLINEWRAPON        0x43
#define   LCD_AUTOLINEWRAPOFF       0x44
#define   LCD_SETCURSORPOS          0x47
#define   LCD_SETCURSORHOME         0x48
#define   LCD_MOVECURSORBACK        0x4C
#define   LCD_MOVECURSORFWD         0x4D
#define   LCD_UNDERLINECURSORON     0x4A
#define   LCD_UNDERLINECURSOROFF    0x4B
#define   LCD_BLOCKCURSORON         0x53
#define   LCD_BLOCKCURSOROFF        0x54

// GPO commands
#define   LCD_GPOON                 0x57
#define   LCD_GPOOFF                0x56
#define   LCD_GPOSTARTSTATE         0xC3

// Keypad commands
#define   LCD_AUTOTRANSMITOFF       0x4F // auto transmit always off for I2C
#define   LCD_POLLKEYPRESS          0x26 // not used
#define   LCD_CLEARKEYBUFFER        0x45
#define   LCD_SETKEYDEBOUNCE        0x55
#define   LCD_SETAUTOREPEATMODE     0x7E
#define   LCD_AUTOREPEATMODEOFF     0x60 // not used
#define   LCD_KEYBACKLIGHTOFF       0x9B
#define   LCD_SETKEYBRIGHTNESS      0x9C
#define   LCD_SETAUTOBACKLIGHT      0x9D

// Display commands
#define   LCD_BACKLIGHTON           0x42
#define   LCD_BACKLIGHTOFF          0x46
#define   LCD_SETBRIGHTNESS         0x99
#define   LCD_SETSAVEBRIGHTNESS     0x98
#define   LCD_SETBACKLIGHTCOLOR     0x82
#define   LCD_SETCONTRAST           0x50
#define   LCD_SETSAVECONTRAST       0x91

class LK204 {
public:

  enum ledColor {
    LED_OFF = 0,
    LED_RED,
    LED_GREEN,
    LED_YELLOW
  };

  // key down enumeration
  // manual states key up should generate values as well, does not seem to function this way
  enum btns {
    NONE = 0,

    BTN_TOPSELECT = 65,
    BTN_UP,
    BTN_RIGHT,
    BTN_LEFT,
    BTN_CTRSELECT,

    BTN_BTMSELECT = 71,
    BTN_DOWN,

    // must use HOLD for auto repeate mode to receive releases
    BTN_TOPSELECT_RELEASE = 97,
    BTN_UP_RELEASE,
    BTN_RIGHT_RELEASE,
    BTN_LEFT_RELEASE,
    BTN_CTRSELECT_RELEASE,

    BTN_BTMSELECT_RELEASE = 103,
    BTN_DOWN_RELEASE
  };

  enum repeatMode {
    TYPEMATIC = 0,
    HOLD
  };

  enum backlightMode {
    // transmit first keypress options
    TRANSMIT_NOCHANGE = 0,
    TRANSMIT_LIGHT_KEYPAD,
    TRANSMIT_LIGHT_DISPLAY,
    TRANSMIT_LIGHT_BOTH,

    // omit first keypress options
    OMIT_NOCHANGE = 8,
    OMIT_LIGHT_KEYPAD,
    OMIT_LIGHT_DISPLAY,
    OMIT_LIGHT_BOTH,
  };

  LK204(const struct i2c_dt_spec lcdDev);
  void init(uint8_t cols, uint8_t rows);
  void clear();
  void setStartupScreen(const std::string &text);
  void home();
  void setCursor(uint8_t col, uint8_t row);
  void autoscroll();
  void noAutoscroll();
  void linewrap();
  void noLinewrap();
  void moveCursorBack();
  void moveCursorFwd();
  void cursor();
  void noCursor();
  void blink();
  void noBlink();
  void write(const std::string &text);
  void write(const uint8_t &chara);
  void setLED(uint8_t led, ledColor color);
  void setLEDStartup(uint8_t led, ledColor color);
  enum btns readButtons();
  void clearKeyBuffer();
  void setKeyDebounceTime(uint8_t time);
  void setAutoRepeatMode(repeatMode mode);
  void keypadBacklightOff();
  void setKeypadBacklightLevel(uint8_t level);
  void setAutoBacklight(backlightMode mode);
  void displayBacklightOnTime(uint8_t time);
  void displayBacklightOff();
  void setDisplayBacklightLevel(uint8_t level, bool save);
  void setDisplayBacklightColor(uint8_t red, uint8_t green, uint8_t blue);
  void setDisplayContrast(uint8_t level, bool save);

private:
  struct i2c_dt_spec _lcdDev;
  uint8_t _lcdAddr;
  uint8_t _cols;
  uint8_t _rows;
  inline void lcdCmd(uint8_t cmd, uint8_t paramCnt = 0, uint8_t params[] = nullptr);
};

#endif
```

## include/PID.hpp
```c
#ifndef PID_hpp
#define PID_hpp
#define LIBRARY_VERSION	1.2.1

class PID
{


  public:
  
  //Constants used in some of the functions below
  #define AUTOMATIC	1
  #define MANUAL	  0
  
  #define DIRECT    0
  #define REVERSE   1
  
  #define P_ON_M    0
  #define P_ON_E    1

  #define PERIODIC    0
  #define OVERSAMPLE  1

  #define PERIODIC 0
  #define OVERSAMPLE 1

  //commonly used functions **************************************************************************
  PID(double*, double*, double*,          // * constructor.  links the PID to the Input, Output, and 
      double, double, double, int, int);  //   Setpoint.  Initial tuning parameters are also set here.
                                          //   (overload for specifying proportional mode)

  PID(double*, double*, double*,          // * constructor.  links the PID to the Input, Output, and 
      double, double, double, int);       //   Setpoint.  Initial tuning parameters are also set here
  
  void SetMode(int Mode);                 // * sets PID to either Manual (0) or Auto (non-0)

  bool Compute();                         // * performs the PID calculation.  it should be
                                          //   called every time loop() cycles. ON/OFF and
                                          //   calculation frequency can be set using SetMode
                                          //   SetSampleTime respectively

  void SetOutputLimits(double, double);   // * clamps the output to a specific range. 0-255 by default, but
										                      //   it's likely the user will want to change this depending on
										                      //   the application
	


  //available but not commonly used functions ********************************************************
  void SetTunings(double, double,         // * While most users will set the tunings once in the 
                    double);         	    //   constructor, this function gives the user the option
                                          //   of changing tunings during runtime for Adaptive control
  void SetTunings(double, double,         // * overload for specifying proportional mode
                    double, int);         	  

	void SetControllerDirection(int);	      // * Sets the Direction, or "Action" of the controller. DIRECT
										                      //   means the output will increase when error is positive. REVERSE
										                      //   means the opposite.  it's very unlikely that this will be needed
										                      //   once it is set in the constructor.
  void SetSampleTime(int, int);           // * sets the frequency, in Milliseconds, with which 
                                          //   the PID calculation is performed.  default is 100
										  
										  
										  
  //Display functions ****************************************************************
	double GetKp();						      // These functions query the pid for interal values.
	double GetKi();						      //  they were created mainly for the pid front-end,
	double GetKd();						      // where it's important to know what is actually 
	int GetMode();						      //  inside the PID.
	int GetDirection();					    //

  private:
	void Initialize();
	
	double dispKp;				          // * we'll hold on to the tuning parameters in user-entered 
	double dispKi;				          //   format for display purposes
	double dispKd;				          //
    
	double kp;                      // * (P)roportional Tuning Parameter
  double ki;                      // * (I)ntegral Tuning Parameter
  double kd;                      // * (D)erivative Tuning Parameter

	int controllerDirection;
	int pOn;

  double *myInput;                // * Pointers to the Input, Output, and Setpoint variables
  double *myOutput;               //   This creates a hard link between the variables and the 
  double *mySetpoint;             //   PID, freeing the user from having to constantly tell us
                                  //   what these values are.  with pointers we'll just know.
			  
	unsigned long lastTime;
	double outputSum, lastInput;

	unsigned long SampleTime;
  int TimingMode;
	double outMin, outMax;
	bool inAuto, pOnE;
  
};

#endif
```

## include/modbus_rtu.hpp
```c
#pragma once

/*
 * modbus_rtu.hpp
 * ──────────────
 * Thin C++ wrapper around Zephyr's modbus_client API for the
 * DripMonitor ESP32 PLC 21 application.
 *
 * Role: Modbus RTU **client** (master).
 *   - The ESP32 PLC is the master.
 *   - The TouchGFX screen (or any external device) is the server (slave).
 *   - The physical layer is the PLC 21's on-board RS-485 transceiver
 *     on UART2 (TX=GPIO17, RX=GPIO16, DE/RE=GPIO4).
 *
 * Exposed register map (server address 1 by default, see MODBUS_SERVER_ADDR):
 *
 *   Holding registers (FC03 read / FC06 write single / FC16 write multiple)
 *   ────────────────────────────────────────────────────────────────────────
 *   Reg 0  │ RO │ System status     │ 0=IDLE 1=RUNNING 2=ALARM 3=PRIMING
 *   Reg 1  │ RO │ Drip rate (×10)   │ e.g. 125 = 12.5 drips/min
 *   Reg 2  │ RO │ Drip setpoint(×10)│ e.g. 100 = 10.0 drips/min
 *   Reg 3  │ RO │ Alarm bitfield    │ bit0=LOW_OIL, bit1=LOW_DRIP_WARN,
 *          │    │                   │ bit2=LOW_DRIP_SHUTDOWN
 *   Reg 4  │ RW │ Command register  │ 1=START 2=STOP 3=PRIME 4=RESET_ALARMS
 *   Reg 5  │ RW │ New drip SP (×10) │ written by screen to change setpoint
 *   Reg 6  │ RO │ Motor state       │ 0=OFF 1=ON
 *   Reg 7  │ RO │ Low oil flag      │ 0=OK 1=LOW
 *
 *   Coils (FC01 read / FC05 write single)  — optional, not used yet
 *   ─────────────────────────────────────
 *   Coil 0 │ RW │ Motor enable override
 */

#include <cstdint>
#include <zephyr/modbus/modbus.h>

// ── Compile-time tunables ─────────────────────────────────────────────────

/* Modbus node label from the devicetree (must match .overlay). */
#define MODBUS_IFACE_NODE   DT_NODELABEL(modbus0)

/* Default address of the remote server (TouchGFX screen / slave device).
 * The Modbus standard reserves 0 for broadcast; valid slave IDs are 1–247. */
#define MODBUS_SERVER_ADDR  1

/* Baud rate — must match uart2 `current-speed` in the overlay AND
 * the setting on the remote device. */
#define MODBUS_BAUD         19200

/* Response timeout in milliseconds.  Outdoors with long cable runs
 * 200 ms is safe; shorten for snappier UI if the cable is short. */
#define MODBUS_RESPONSE_TIMEOUT_MS  200

// ── Register indices (holding registers) ────────────────────────────────
#define MB_REG_SYS_STATUS       0
#define MB_REG_DRIP_RATE        1
#define MB_REG_DRIP_SETPOINT    2
#define MB_REG_ALARM_FLAGS      3
#define MB_REG_COMMAND          4
#define MB_REG_NEW_DRIP_SP      5
#define MB_REG_MOTOR_STATE      6
#define MB_REG_LOW_OIL          7
#define MB_NUM_HOLD_REGS        8   /* total holding registers in the map */

// ── Alarm bitfield (MB_REG_ALARM_FLAGS) ─────────────────────────────────
#define MB_ALARM_LOW_OIL            (1u << 0)
#define MB_ALARM_LOW_DRIP_WARN      (1u << 1)
#define MB_ALARM_LOW_DRIP_SHUTDOWN  (1u << 2)

// ── Command values (MB_REG_COMMAND) ─────────────────────────────────────
#define MB_CMD_NONE             0
#define MB_CMD_START            1
#define MB_CMD_STOP             2
#define MB_CMD_PRIME            3
#define MB_CMD_RESET_ALARMS     4

// ── System-status values (MB_REG_SYS_STATUS) ────────────────────────────
#define MB_STATUS_IDLE          0
#define MB_STATUS_RUNNING       1
#define MB_STATUS_ALARM         2
#define MB_STATUS_PRIMING       3

// ─────────────────────────────────────────────────────────────────────────

class ModbusRTU {
public:
    ModbusRTU() = default;

    /**
     * Initialise the Modbus serial interface.
     * Must be called once before any read/write.
     * Returns 0 on success, negative errno on failure.
     */
    int init();

    /**
     * Write the full status block (regs 0–3, 6–7) to the remote screen
     * in one FC16 (Write Multiple Registers) transaction.
     * Returns 0 on success, negative errno on failure.
     */
    int writeStatus(uint8_t sysStatus, double dripRate, double dripSetpoint,
                    uint16_t alarmFlags, bool motorOn, bool lowOil);

    /**
     * Read the command register (reg 4) and optional new setpoint (reg 5)
     * from the screen.
     * outCmd is set to one of MB_CMD_*.
     * outNewSP is set to the new drip setpoint (÷10), only meaningful when
     * outCmd is MB_CMD_* and reg 5 is non-zero.
     * Returns 0 on success, negative errno on failure.
     */
    int readCommands(uint16_t &outCmd, double &outNewSP);

    /**
     * Acknowledge a command by writing MB_CMD_NONE (0) to reg 4 so the
     * screen knows the PLC has consumed the command.
     */
    int ackCommand();

    /** Returns true if init() succeeded and the interface is open. */
    bool isReady() const { return _iface >= 0; }

private:
    int _iface = -1;
};
```
